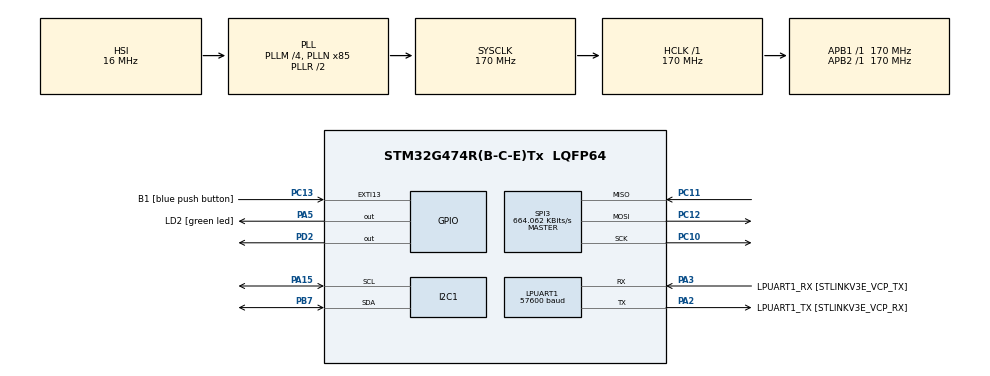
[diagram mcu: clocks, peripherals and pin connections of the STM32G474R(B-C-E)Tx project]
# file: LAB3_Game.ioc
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Dma.I2C1_RX.0.Direction=DMA_PERIPH_TO_MEMORY
Dma.I2C1_RX.0.EventEnable=DISABLE
Dma.I2C1_RX.0.Instance=DMA1_Channel1
Dma.I2C1_RX.0.MemDataAlignment=DMA_MDATAALIGN_BYTE
Dma.I2C1_RX.0.MemInc=DMA_MINC_ENABLE
Dma.I2C1_RX.0.Mode=DMA_NORMAL
Dma.I2C1_RX.0.PeriphDataAlignment=DMA_PDATAALIGN_BYTE
Dma.I2C1_RX.0.PeriphInc=DMA_PINC_DISABLE
Dma.I2C1_RX.0.Polarity=HAL_DMAMUX_REQ_GEN_RISING
Dma.I2C1_RX.0.Priority=DMA_PRIORITY_LOW
Dma.I2C1_RX.0.RequestNumber=1
Dma.I2C1_RX.0.SignalID=NONE
Dma.I2C1_RX.0.SyncEnable=DISABLE
Dma.I2C1_RX.0.SyncPolarity=HAL_DMAMUX_SYNC_NO_EVENT
Dma.I2C1_RX.0.SyncRequestNumber=1
Dma.I2C1_RX.0.SyncSignalID=NONE
Dma.I2C1_TX.1.Direction=DMA_MEMORY_TO_PERIPH
Dma.I2C1_TX.1.EventEnable=DISABLE
Dma.I2C1_TX.1.Instance=DMA1_Channel2
Dma.I2C1_TX.1.MemDataAlignment=DMA_MDATAALIGN_BYTE
Dma.I2C1_TX.1.MemInc=DMA_MINC_ENABLE
Dma.I2C1_TX.1.Mode=DMA_NORMAL
Dma.I2C1_TX.1.PeriphDataAlignment=DMA_PDATAALIGN_BYTE
Dma.I2C1_TX.1.PeriphInc=DMA_PINC_DISABLE
Dma.I2C1_TX.1.Polarity=HAL_DMAMUX_REQ_GEN_RISING
Dma.I2C1_TX.1.Priority=DMA_PRIORITY_LOW
Dma.I2C1_TX.1.RequestNumber=1
Dma.I2C1_TX.1.SignalID=NONE
Dma.I2C1_TX.1.SyncEnable=DISABLE
Dma.I2C1_TX.1.SyncPolarity=HAL_DMAMUX_SYNC_NO_EVENT
Dma.I2C1_TX.1.SyncRequestNumber=1
Dma.I2C1_TX.1.SyncSignalID=NONE
Dma.Request0=I2C1_RX
Dma.Request1=I2C1_TX
I2C1.Timing=0x30A0A7FB
LPUART1.BaudRate=57600
LPUART1.WordLength=UART_WORDLENGTH_8B
Mcu.Family=STM32G4
Mcu.Name=STM32G474R(B-C-E)Tx
Mcu.Package=LQFP64
NVIC.DMA1_Channel1_IRQn=true\:0\:0\:false\:false\:true\:false\:true\:true
NVIC.DMA1_Channel2_IRQn=true\:0\:0\:false\:false\:true\:false\:true\:true
NVIC.EXTI15_10_IRQn=true\:0\:0\:false\:false\:true\:true\:true\:true
NVIC.I2C1_ER_IRQn=true\:0\:0\:false\:false\:true\:true\:true\:true
NVIC.I2C1_EV_IRQn=true\:0\:0\:false\:false\:true\:true\:true\:true
NVIC.PriorityGroup=NVIC_PRIORITYGROUP_4
NVIC.SPI3_IRQn=true\:0\:0\:false\:false\:true\:true\:true\:true
PA13.GPIO_Label=T_SWDIO
PA13.Mode=Serial_Wire
PA13.Signal=SYS_JTMS-SWDIO
PA14.GPIO_Label=T_SWCLK
PA14.Mode=Serial_Wire
PA14.Signal=SYS_JTCK-SWCLK
PA15.Mode=I2C
PA15.Signal=I2C1_SCL
PA2.GPIO_Label=LPUART1_TX [STLINKV3E_VCP_RX]
PA2.Mode=Asynchronous
PA2.Signal=LPUART1_TX
PA3.GPIO_Label=LPUART1_RX [STLINKV3E_VCP_TX]
PA3.Mode=Asynchronous
PA3.Signal=LPUART1_RX
PA5.GPIO_Label=LD2 [green led]
PA5.Signal=GPIO_Output
PB3.GPIO_Label=T_SWO
PB3.Signal=SYS_JTDO-SWO
PB7.Mode=I2C
PB7.Signal=I2C1_SDA
PC10.Mode=Full_Duplex_Master
PC10.Signal=SPI3_SCK
PC11.Mode=Full_Duplex_Master
PC11.Signal=SPI3_MISO
PC12.Mode=Full_Duplex_Master
PC12.Signal=SPI3_MOSI
PC13.GPIO_Label=B1 [blue push button]
PC13.Signal=GPXTI13
PC14-OSC32_IN.Mode=LSE-External-Oscillator
PC14-OSC32_IN.Signal=RCC_OSC32_IN
PC15-OSC32_OUT.Mode=LSE-External-Oscillator
PC15-OSC32_OUT.Signal=RCC_OSC32_OUT
PD2.PinState=GPIO_PIN_SET
PD2.Signal=GPIO_Output
PF0-OSC_IN.Mode=HSE-External-Oscillator
PF0-OSC_IN.Signal=RCC_OSC_IN
PF1-OSC_OUT.Mode=HSE-External-Oscillator
PF1-OSC_OUT.Signal=RCC_OSC_OUT
ProjectManager.HeapSize=0x200
ProjectManager.StackSize=0x400
ProjectManager.TargetToolchain=STM32CubeIDE
RCC.ADC12Freq_Value=170000000
RCC.ADC345Freq_Value=170000000
RCC.AHBFreq_Value=170000000
RCC.APB1Freq_Value=170000000
RCC.APB1TimFreq_Value=170000000
RCC.APB2Freq_Value=170000000
RCC.APB2TimFreq_Value=170000000
RCC.CortexFreq_Value=170000000
RCC.EXTERNAL_CLOCK_VALUE=12288000
RCC.HCLKFreq_Value=170000000
RCC.HSE_VALUE=24000000
RCC.HSI48_VALUE=48000000
RCC.HSI_VALUE=16000000
RCC.PLLM=RCC_PLLM_DIV4
RCC.PLLN=85
RCC.RTCClockSelection=RCC_RTCCLKSOURCE_LSE
RCC.SYSCLKFreq_VALUE=170000000
RCC.SYSCLKSource=RCC_SYSCLKSOURCE_PLLCLK
RCC.USBFreq_Value=170000000
RCC.VCOOutputFreq_Value=340000000
SPI3.BaudRatePrescaler=SPI_BAUDRATEPRESCALER_256
SPI3.CalculateBaudRate=664.062 KBits/s
SPI3.DataSize=SPI_DATASIZE_8BIT
SPI3.Direction=SPI_DIRECTION_2LINES
SPI3.Mode=SPI_MODE_MASTER
SPI3.VirtualType=VM_MASTER
TIM3.PeriodNoDither=99
TIM3.Prescaler=16999
VP_SYS_VS_DBSignals.Mode=DisableDeadBatterySignals
VP_TIM3_VS_ClockSourceINT.Mode=Internal
board=NUCLEO-G474RE

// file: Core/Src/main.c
/* USER CODE BEGIN Header */
/**
  ******************************************************************************
  * @file           : main.c
  * @brief          : Main program body
  ******************************************************************************
  * @attention
  *
  * Copyright (c) 2024 STMicroelectronics.
  * All rights reserved.
  *
  * This software is licensed under terms that can be found in the LICENSE file
  * in the root directory of this software component.
  * If no LICENSE file comes with this software, it is provided AS-IS.
  *
  ******************************************************************************
  */
/* USER CODE END Header */
#include "main.h"

/* USER CODE BEGIN Includes */
#include <stdio.h>
#include <string.h>
/* USER CODE END Includes */

I2C_HandleTypeDef hi2c1;
DMA_HandleTypeDef hdma_i2c1_rx;
DMA_HandleTypeDef hdma_i2c1_tx;

UART_HandleTypeDef hlpuart1;

SPI_HandleTypeDef hspi3;

TIM_HandleTypeDef htim3;

/* USER CODE BEGIN PV */
//SPI part
uint8_t SPIRx[10];
uint8_t SPITx[10];

//my game part
int game_winner=0;//0=no 1=ai 2=human
int game_turn=0;//0=player 1=ai
int game_left=5;//amount of lamp that has left
int game_pick=0;//amount of pick for LED

//light (not use anymore)
uint16_t LMode;//for light

//UART
uint8_t RxBuffer[27];
uint8_t TxBuffer[27];
int ReadyToPlay = 0;

/* USER CODE END PV */

void SystemClock_Config(void);
static void MX_GPIO_Init(void);
static void MX_DMA_Init(void);
static void MX_LPUART1_UART_Init(void);
static void MX_SPI3_Init(void);
static void MX_TIM3_Init(void);
static void MX_I2C1_Init(void);

int main(void)
{

  /* MCU Configuration--------------------------------------------------------*/

  /* Reset of all peripherals, Initializes the Flash interface and the Systick. */
  HAL_Init();

  /* Configure the system clock */
  SystemClock_Config();

  /* Initialize all configured peripherals */
  MX_GPIO_Init();
  MX_DMA_Init();
  MX_LPUART1_UART_Init();
  MX_SPI3_Init();
  MX_TIM3_Init();
  MX_I2C1_Init();
  /* USER CODE BEGIN 2 */
  HAL_TIM_Base_Start(&htim3); // start timer
    HAL_UART_Transmit(&hlpuart1, (uint8_t *)"\r\nYou need to PICK 1 or 2 coins VS AI\r\n", strlen("\r\nYou need to PICK 1 or 2 coins VS AI\r\n"), HAL_MAX_DELAY);
    HAL_UART_Transmit(&hlpuart1, (uint8_t *)"Who pick the last coin Win!!\r\n", strlen("Who pick the last coin Win!!\r\n"), HAL_MAX_DELAY);
    HAL_UART_Transmit(&hlpuart1, (uint8_t *)"If you're ready please type\r\n", strlen("If you're ready please type\r\n"), HAL_MAX_DELAY);
    HAL_UART_Transmit(&hlpuart1, (uint8_t *)"wanna play this game so bad\r\n", strlen("wanna play this game so bad\r\n"), HAL_MAX_DELAY);
    HAL_UART_Transmit(&hlpuart1, (uint8_t *)"and now you can join\r\n", strlen("and now you can join\r\n"), HAL_MAX_DELAY);
  /* USER CODE END 2 */

  /* Infinite loop */
  while (1)
  {

    /* USER CODE BEGIN 3 */
	  	  AreYouReadyToPlay();
	      SPITxRx_readIO();
	      TikTokGame();
	      CoinLeftUART();
	      LEDdisplay();
  }
  /* USER CODE END 3 */
}

void SystemClock_Config(void)
{
  RCC_OscInitTypeDef RCC_OscInitStruct = {0};
  RCC_ClkInitTypeDef RCC_ClkInitStruct = {0};

  /** Configure the main internal regulator output voltage
  */
  HAL_PWREx_ControlVoltageScaling(PWR_REGULATOR_VOLTAGE_SCALE1_BOOST);

  /** Initializes the RCC Oscillators according to the specified parameters
  * in the RCC_OscInitTypeDef structure.
  */
  RCC_OscInitStruct.OscillatorType = RCC_OSCILLATORTYPE_HSI;
  RCC_OscInitStruct.HSIState = RCC_HSI_ON;
  RCC_OscInitStruct.HSICalibrationValue = RCC_HSICALIBRATION_DEFAULT;
  RCC_OscInitStruct.PLL.PLLState = RCC_PLL_ON;
  RCC_OscInitStruct.PLL.PLLSource = RCC_PLLSOURCE_HSI;
  RCC_OscInitStruct.PLL.PLLM = RCC_PLLM_DIV4;
  RCC_OscInitStruct.PLL.PLLN = 85;
  RCC_OscInitStruct.PLL.PLLP = RCC_PLLP_DIV2;
  RCC_OscInitStruct.PLL.PLLQ = RCC_PLLQ_DIV2;
  RCC_OscInitStruct.PLL.PLLR = RCC_PLLR_DIV2;
  if (HAL_RCC_OscConfig(&RCC_OscInitStruct) != HAL_OK)
  {
    Error_Handler();
  }

  /** Initializes the CPU, AHB and APB buses clocks
  */
  RCC_ClkInitStruct.ClockType = RCC_CLOCKTYPE_HCLK|RCC_CLOCKTYPE_SYSCLK
                              |RCC_CLOCKTYPE_PCLK1|RCC_CLOCKTYPE_PCLK2;
  RCC_ClkInitStruct.SYSCLKSource = RCC_SYSCLKSOURCE_PLLCLK;
  RCC_ClkInitStruct.AHBCLKDivider = RCC_SYSCLK_DIV1;
  RCC_ClkInitStruct.APB1CLKDivider = RCC_HCLK_DIV1;
  RCC_ClkInitStruct.APB2CLKDivider = RCC_HCLK_DIV1;

  if (HAL_RCC_ClockConfig(&RCC_ClkInitStruct, FLASH_LATENCY_4) != HAL_OK)
  {
    Error_Handler();
  }
}

static void MX_I2C1_Init(void)
{

  hi2c1.Instance = I2C1;
  hi2c1.Init.Timing = 0x30A0A7FB;
  hi2c1.Init.OwnAddress1 = 0;
  hi2c1.Init.AddressingMode = I2C_ADDRESSINGMODE_7BIT;
  hi2c1.Init.DualAddressMode = I2C_DUALADDRESS_DISABLE;
  hi2c1.Init.OwnAddress2 = 0;
  hi2c1.Init.OwnAddress2Masks = I2C_OA2_NOMASK;
  hi2c1.Init.GeneralCallMode = I2C_GENERALCALL_DISABLE;
  hi2c1.Init.NoStretchMode = I2C_NOSTRETCH_DISABLE;
  if (HAL_I2C_Init(&hi2c1) != HAL_OK)
  {
    Error_Handler();
  }

  /** Configure Analogue filter
  */
  if (HAL_I2CEx_ConfigAnalogFilter(&hi2c1, I2C_ANALOGFILTER_ENABLE) != HAL_OK)
  {
    Error_Handler();
  }

  /** Configure Digital filter
  */
  if (HAL_I2CEx_ConfigDigitalFilter(&hi2c1, 0) != HAL_OK)
  {
    Error_Handler();
  }

}

static void MX_LPUART1_UART_Init(void)
{

  hlpuart1.Instance = LPUART1;
  hlpuart1.Init.BaudRate = 57600;
  hlpuart1.Init.WordLength = UART_WORDLENGTH_8B;
  hlpuart1.Init.StopBits = UART_STOPBITS_1;
  hlpuart1.Init.Parity = UART_PARITY_NONE;
  hlpuart1.Init.Mode = UART_MODE_TX_RX;
  hlpuart1.Init.HwFlowCtl = UART_HWCONTROL_NONE;
  hlpuart1.Init.OneBitSampling = UART_ONE_BIT_SAMPLE_DISABLE;
  hlpuart1.Init.ClockPrescaler = UART_PRESCALER_DIV1;
  hlpuart1.AdvancedInit.AdvFeatureInit = UART_ADVFEATURE_NO_INIT;
  if (HAL_UART_Init(&hlpuart1) != HAL_OK)
  {
    Error_Handler();
  }
  if (HAL_UARTEx_SetTxFifoThreshold(&hlpuart1, UART_TXFIFO_THRESHOLD_1_8) != HAL_OK)
  {
    Error_Handler();
  }
  if (HAL_UARTEx_SetRxFifoThreshold(&hlpuart1, UART_RXFIFO_THRESHOLD_1_8) != HAL_OK)
  {
    Error_Handler();
  }
  if (HAL_UARTEx_DisableFifoMode(&hlpuart1) != HAL_OK)
  {
    Error_Handler();
  }

}

static void MX_SPI3_Init(void)
{

  /* SPI3 parameter configuration*/
  hspi3.Instance = SPI3;
  hspi3.Init.Mode = SPI_MODE_MASTER;
  hspi3.Init.Direction = SPI_DIRECTION_2LINES;
  hspi3.Init.DataSize = SPI_DATASIZE_8BIT;
  hspi3.Init.CLKPolarity = SPI_POLARITY_LOW;
  hspi3.Init.CLKPhase = SPI_PHASE_1EDGE;
  hspi3.Init.NSS = SPI_NSS_SOFT;
  hspi3.Init.BaudRatePrescaler = SPI_BAUDRATEPRESCALER_256;
  hspi3.Init.FirstBit = SPI_FIRSTBIT_MSB;
  hspi3.Init.TIMode = SPI_TIMODE_DISABLE;
  hspi3.Init.CRCCalculation = SPI_CRCCALCULATION_DISABLE;
  hspi3.Init.CRCPolynomial = 7;
  hspi3.Init.CRCLength = SPI_CRC_LENGTH_DATASIZE;
  hspi3.Init.NSSPMode = SPI_NSS_PULSE_ENABLE;
  if (HAL_SPI_Init(&hspi3) != HAL_OK)
  {
    Error_Handler();
  }

}

static void MX_TIM3_Init(void)
{

  TIM_ClockConfigTypeDef sClockSourceConfig = {0};
  TIM_MasterConfigTypeDef sMasterConfig = {0};

  htim3.Instance = TIM3;
  htim3.Init.Prescaler = 16999;
  htim3.Init.CounterMode = TIM_COUNTERMODE_UP;
  htim3.Init.Period = 99;
  htim3.Init.ClockDivision = TIM_CLOCKDIVISION_DIV1;
  htim3.Init.AutoReloadPreload = TIM_AUTORELOAD_PRELOAD_DISABLE;
  if (HAL_TIM_Base_Init(&htim3) != HAL_OK)
  {
    Error_Handler();
  }
  sClockSourceConfig.ClockSource = TIM_CLOCKSOURCE_INTERNAL;
  if (HAL_TIM_ConfigClockSource(&htim3, &sClockSourceConfig) != HAL_OK)
  {
    Error_Handler();
  }
  sMasterConfig.MasterOutputTrigger = TIM_TRGO_RESET;
  sMasterConfig.MasterSlaveMode = TIM_MASTERSLAVEMODE_DISABLE;
  if (HAL_TIMEx_MasterConfigSynchronization(&htim3, &sMasterConfig) != HAL_OK)
  {
    Error_Handler();
  }

}

static void MX_DMA_Init(void)
{

  /* DMA controller clock enable */
  __HAL_RCC_DMAMUX1_CLK_ENABLE();
  __HAL_RCC_DMA1_CLK_ENABLE();

  /* DMA interrupt init */
  /* DMA1_Channel1_IRQn interrupt configuration */
  HAL_NVIC_SetPriority(DMA1_Channel1_IRQn, 0, 0);
  HAL_NVIC_EnableIRQ(DMA1_Channel1_IRQn);
  /* DMA1_Channel2_IRQn interrupt configuration */
  HAL_NVIC_SetPriority(DMA1_Channel2_IRQn, 0, 0);
  HAL_NVIC_EnableIRQ(DMA1_Channel2_IRQn);

}

static void MX_GPIO_Init(void)
{
  GPIO_InitTypeDef GPIO_InitStruct = {0};

  /* GPIO Ports Clock Enable */
  __HAL_RCC_GPIOC_CLK_ENABLE();
  __HAL_RCC_GPIOF_CLK_ENABLE();
  __HAL_RCC_GPIOA_CLK_ENABLE();
  __HAL_RCC_GPIOD_CLK_ENABLE();
  __HAL_RCC_GPIOB_CLK_ENABLE();

  /*Configure GPIO pin Output Level */
  HAL_GPIO_WritePin(LD2_GPIO_Port, LD2_Pin, GPIO_PIN_RESET);

  /*Configure GPIO pin Output Level */
  HAL_GPIO_WritePin(GPIOD, GPIO_PIN_2, GPIO_PIN_SET);

  /*Configure GPIO pin : B1_Pin */
  GPIO_InitStruct.Pin = B1_Pin;
  GPIO_InitStruct.Mode = GPIO_MODE_IT_RISING;
  GPIO_InitStruct.Pull = GPIO_NOPULL;
  HAL_GPIO_Init(B1_GPIO_Port, &GPIO_InitStruct);

  /*Configure GPIO pin : LD2_Pin */
  GPIO_InitStruct.Pin = LD2_Pin;
  GPIO_InitStruct.Mode = GPIO_MODE_OUTPUT_PP;
  GPIO_InitStruct.Pull = GPIO_NOPULL;
  GPIO_InitStruct.Speed = GPIO_SPEED_FREQ_LOW;
  HAL_GPIO_Init(LD2_GPIO_Port, &GPIO_InitStruct);

  /*Configure GPIO pin : PD2 */
  GPIO_InitStruct.Pin = GPIO_PIN_2;
  GPIO_InitStruct.Mode = GPIO_MODE_OUTPUT_PP;
  GPIO_InitStruct.Pull = GPIO_NOPULL;
  GPIO_InitStruct.Speed = GPIO_SPEED_FREQ_LOW;
  HAL_GPIO_Init(GPIOD, &GPIO_InitStruct);

  /* EXTI interrupt init*/
  HAL_NVIC_SetPriority(EXTI15_10_IRQn, 0, 0);
  HAL_NVIC_EnableIRQ(EXTI15_10_IRQn);

}

/* USER CODE BEGIN 4 */
void AreYouReadyToPlay() {
    while (1) {
        if (ReadyToPlay == 1) // If already ready to play, break the loop
            break;

        memset(RxBuffer, 0, sizeof(RxBuffer)); // Clear the receive buffer

        HAL_StatusTypeDef status = HAL_UART_Receive(&hlpuart1, RxBuffer, 27, HAL_MAX_DELAY);

        if (status == HAL_OK && strcmp((char*)RxBuffer, "wanna play this game so bad") == 0) {//correct condition
            ReadyToPlay=1; //you are ready to play
            HAL_UART_Transmit(&hlpuart1, (uint8_t *)"Welcome Your Turn start!\r\n", strlen("Welcome Your Turn start!\r\n"), HAL_MAX_DELAY);
            break; // Exit the loop once condition is met
        }
        else {
            ReadyToPlay=0;
            HAL_UART_Transmit(&hlpuart1, (uint8_t *)"Do you really wanna play? Just type\r\n", strlen("Do you really wanna play? Just type\r\n"), HAL_MAX_DELAY);
            HAL_UART_Transmit(&hlpuart1, (uint8_t *)"wanna play this game so bad\r\n", strlen("wanna play this game so bad\r\n"), HAL_MAX_DELAY);
        }
    }
}

void SPITxRx_Setup()
{
//CS pulse
HAL_GPIO_WritePin(GPIOD, GPIO_PIN_2, 0); // CS Select
HAL_Delay(5);
HAL_GPIO_WritePin(GPIOD, GPIO_PIN_2, 1); // CS deSelect
HAL_Delay(5);
}

void SPITxRx_readIO()
{
if(HAL_GPIO_ReadPin(GPIOD,GPIO_PIN_2))
{
HAL_GPIO_WritePin(GPIOD, GPIO_PIN_2, 0); // CS Select
SPITx[0] = 0b01000001;
SPITx[1] = 0x12;
SPITx[2] = 0;
SPITx[3] = 0;
HAL_SPI_TransmitReceive_IT(&hspi3, SPITx, SPIRx, 4);
}
}

void TikTokGame()
{
	// for my reminder
//	int game_winner=0;//0=no 1=ai 2=human
//	int game_turn=0;//0=player 1=ai
//	int game_left=5;//amount of lamp that has left
//	int game_pick=0;//amount of pick for LED
    if(game_turn == 0) // player turn
    {
    	switch (game_left) {
    	    case 5:
    	        // statements
    	        switch (SPIRx[2]) {
    	            case 6: // Button 1 press pick 1
    	                game_pick = 1; // pick1
    	                game_left = 4; // coin left 4
    	                game_winner = 0; // no winner
    	                game_turn = 1; // next is ai turn
    	                HAL_UART_Transmit(&hlpuart1, (uint8_t *)"You pick 1\r\n", strlen("You pick 1\r\n"), HAL_MAX_DELAY);
    	                break;
    	            case 5: // Button 2 press pick 2
    	                game_pick = 2; // pick2
    	                game_left = 3; // coin left 3
    	                game_winner = 0; // no winner
    	                game_turn = 1; // next is ai turn
    	                HAL_UART_Transmit(&hlpuart1, (uint8_t *)"You pick 2\r\n", strlen("You pick 2\r\n"), HAL_MAX_DELAY);
    	                break;
    	            case 7: // Button not press let it loop
    	                break;
    	            case 3: // Button 3 press reset
    	                game_pick = 0; // no pick
    	                game_left = 5; // coin left 5
    	                game_winner = 0; // no winner
    	                game_turn = 0; // human turn
    	                HAL_UART_Transmit(&hlpuart1, (uint8_t *)"Loser gonna keep restart\r\n", strlen("Loser gonna keep restart\r\n"), HAL_MAX_DELAY);
    	                HAL_UART_Transmit(&hlpuart1, (uint8_t *)"Your Turn NOW!!\r\n", strlen("Your Turn NOW!!\r\n"), HAL_MAX_DELAY);
    	                break;
    	            default: // multi press do nothing
    	                break;
    	        }
    	        break;
    	    case 3:
    	        // statements
    	        switch (SPIRx[2]) {
    	            case 6: // Button 1 press pick 1
    	                game_pick = 1; // pick1
    	                game_left = 2; // coin left 2
    	                game_winner = 0; // no winner
    	                game_turn = 1; // next is ai turn
    	                HAL_UART_Transmit(&hlpuart1, (uint8_t *)"You pick 1\r\n", strlen("You pick 1\r\n"), HAL_MAX_DELAY);
    	                break;
    	            case 5: // Button 2 press pick 2
    	                game_pick = 2; // pick2
    	                game_left = 1; // coin left 1
    	                game_winner = 0; // no winner
    	                game_turn = 1; // next is ai turn
    	                HAL_UART_Transmit(&hlpuart1, (uint8_t *)"You pick 2\r\n", strlen("You pick 2\r\n"), HAL_MAX_DELAY);
    	                break;
    	            case 7: // Button not press let it loop
    	                break;
    	            case 3: // Button 3 press reset
    	                game_pick = 0; // no pick
    	                game_left = 5; // coin left 5
    	                game_winner = 0; // no winner
    	                game_turn = 0; // human turn
    	                HAL_UART_Transmit(&hlpuart1, (uint8_t *)"Loser gonna keep restart\r\n", strlen("Loser gonna keep restart\r\n"), HAL_MAX_DELAY);
    	                HAL_UART_Transmit(&hlpuart1, (uint8_t *)"Your Turn NOW!!\r\n", strlen("Your Turn NOW!!\r\n"), HAL_MAX_DELAY);
    	                break;
    	            default: // multi press do nothing
    	                break;
    	        }
    	        break;
    	    case 2:
    	        // statements
    	        switch (SPIRx[2]) {
    	            case 6: // Button 1 press pick 1
    	                game_pick = 1; // pick1
    	                game_left = 1; // coin left 1
    	                game_winner = 0; // no winner
    	                game_turn = 1; // next is ai turn
    	                HAL_UART_Transmit(&hlpuart1, (uint8_t *)"You pick 1\r\n", strlen("You pick 1\r\n"), HAL_MAX_DELAY);
    	                break;
    	            case 5: // Button 2 press pick 2
    	                game_pick = 2; // pick2
    	                game_left = 0; // coin left 1
    	                game_winner = 2; // human winner
    	                game_turn = 0; // reset to human
    	                HAL_UART_Transmit(&hlpuart1, (uint8_t *)"You pick 2\r\n", strlen("You pick 2\r\n"), HAL_MAX_DELAY);
    	                break;
    	            case 7: // Button not press let it loop
    	                break;
    	            case 3: // Button 3 press reset
    	                game_pick = 0; // no pick
    	                game_left = 5; // coin left 5
    	                game_winner = 0; // no winner
    	                game_turn = 0; // human turn
    	                HAL_UART_Transmit(&hlpuart1, (uint8_t *)"Loser gonna keep restart\r\n", strlen("Loser gonna keep restart\r\n"), HAL_MAX_DELAY);
    	                HAL_UART_Transmit(&hlpuart1, (uint8_t *)"Your Turn NOW!!\r\n", strlen("Your Turn NOW!!\r\n"), HAL_MAX_DELAY);
    	                break;
    	            default: // multi press do nothing
    	                break;
    	        }
    	        break;
    	    case 1:
    	        // statements
    	        switch (SPIRx[2]) {
    	            case 6: // Button 1 press pick 1
    	                game_pick = 1; // pick1
    	                game_left = 0; // coin left 0
    	                game_winner = 2; // human winner
    	                game_turn = 0; // reset to human
    	                HAL_UART_Transmit(&hlpuart1, (uint8_t *)"You pick 1\r\n", strlen("You pick 1\r\n"), HAL_MAX_DELAY);
    	                break;
    	            case 5: // Button 2 press pick 2
    	                game_pick = 1; // force to pick1
    	                game_left = 0; // coin left 1
    	                game_winner = 2; // human winner
    	                game_turn = 0; // reset to human
    	                HAL_UART_Transmit(&hlpuart1, (uint8_t *)"Are you blind? I gonna let you pick 1\r\n", strlen("Are you blind? I gonna let you pick 1\r\n"), HAL_MAX_DELAY);
    	                break;
    	            case 7: // Button not press let it loop
    	                break;
    	            case 3: // Button 3 press reset
    	                game_pick = 0; // no pick
    	                game_left = 5; // coin left 5
    	                game_winner = 0; // no winner
    	                game_turn = 0; // human turn
    	                HAL_UART_Transmit(&hlpuart1, (uint8_t *)"Loser gonna keep restart\r\n", strlen("Loser gonna keep restart\r\n"), HAL_MAX_DELAY);
    	                HAL_UART_Transmit(&hlpuart1, (uint8_t *)"Your Turn NOW!!\r\n", strlen("Your Turn NOW!!\r\n"), HAL_MAX_DELAY);
    	                break;
    	            default: // multi press do nothing
    	                break;
    	        }
    	        break;
    	}
    	//game_turn = 1;//need to put it inside for if not push
    }
    else // ai turn
    {
        switch (game_left)//amount left for ai to think(fix lol)
        {
            case 4:
                // statements
                game_pick = 1; // pick1
                game_left = 3; // coin left 3
                game_winner = 0; // no winner
                HAL_UART_Transmit(&hlpuart1, (uint8_t *)"AI pick 1\r\n", strlen("AI pick 1\r\n"), HAL_MAX_DELAY);
                HAL_UART_Transmit(&hlpuart1, (uint8_t *)"Your Turn NOW!!\r\n", strlen("Your Turn NOW!!\r\n"), HAL_MAX_DELAY);
                break;
            case 3:
                // statements
                game_pick = 1; // pick1
                game_left = 2; // coin left 2
                game_winner = 0; // no winner
                HAL_UART_Transmit(&hlpuart1, (uint8_t *)"AI pick 1\r\n", strlen("AI pick 1\r\n"), HAL_MAX_DELAY);
                HAL_UART_Transmit(&hlpuart1, (uint8_t *)"Your Turn NOW!!\r\n", strlen("Your Turn NOW!!\r\n"), HAL_MAX_DELAY);
                break;
            case 2:
                // statements
                game_pick = 2; // pick2
                game_left = 0; // coin left 0
                game_winner = 1; // ai winner
                HAL_UART_Transmit(&hlpuart1, (uint8_t *)"AI pick 2\r\n", strlen("AI pick 2\r\n"), HAL_MAX_DELAY);
                break;
            case 1:
                // statements
                game_pick = 1; // pick1
                game_left = 0; // coin left 0
                game_winner = 1; // ai winner
                HAL_UART_Transmit(&hlpuart1, (uint8_t *)"AI pick 1\r\n", strlen("AI pick 1\r\n"), HAL_MAX_DELAY);
                break;
        }
        game_turn = 0;
        //HAL_UART_Transmit(&hlpuart1, (uint8_t *)"Your Turn NOW!!\r\n", strlen("Your Turn NOW!!\r\n"), HAL_MAX_DELAY);
    }
    HAL_Delay(200);//delay
}

void LEDdisplay() {
    // Add your code here to control the LEDs
	switch (game_winner) {
	        case 0:
	            // Still playing
	            break;
	        case 1:
	            // AI wins
	        	//light effect
//	        	HAL_GPIO_WritePin(GPIOD, GPIO_PIN_2, 0); // CS Select
//	        	SPITx[0] = 0b01000000;
//	        	SPITx[1] = 0x01;
//	        	SPITx[2] = 0b00111111;
//	        	HAL_SPI_TransmitReceive_IT(&hspi3, SPITx, SPIRx, 3);
	        	//reset after light
                game_pick = 0; // no pick
                game_left = 5; // coin left 5
                game_winner = 0; // RESET
                game_turn = 0; // human turn
                // Send the message over UART
                HAL_UART_Transmit(&hlpuart1, (uint8_t *)"AI Win!! Humanity Lost!\r\n", strlen("AI Win!! Humanity Lost!\r\n"), HAL_MAX_DELAY);
                HAL_UART_Transmit(&hlpuart1, (uint8_t *)"Try again we believe in you\r\n", strlen("Try again we believe in you\r\n"), HAL_MAX_DELAY);
                HAL_UART_Transmit(&hlpuart1, (uint8_t *)"Coin left is 5. It's your turn to pick.\r\n", strlen("Coin left is 5. It's your turn to pick.\r\n"), HAL_MAX_DELAY);
	            break;
	        case 2:
	            // Human wins
	        	//reset after light
                game_pick = 0; // no pick
                game_left = 5; // coin left 5
                game_winner = 0; // RESET
                game_turn = 0; // human turn
                // Send the message over UART
                HAL_UART_Transmit(&hlpuart1, (uint8_t *)"Congrats You are winning!!!\r\n", strlen("Congrats You are winning!!!\r\n"), HAL_MAX_DELAY);
                HAL_UART_Transmit(&hlpuart1, (uint8_t *)"But now what?? Let's play again I know You still fun\r\n", strlen("But now what?? Let's play again I know You still fun\r\n"), HAL_MAX_DELAY);
                HAL_UART_Transmit(&hlpuart1, (uint8_t *)"Coin left is 5. It's your turn to pick.\r\n", strlen("Coin left is 5. It's your turn to pick.\r\n"), HAL_MAX_DELAY);
	            break;
	    }
}
void CoinLeftUART() {
	 char coin_left_message[30]; // Buffer to store the message
	    sprintf(coin_left_message, "Coin left is %d\r\r\n", game_left); // Use \r\r\n for proper newline
	    HAL_UART_Transmit(&hlpuart1, (uint8_t *)coin_left_message, strlen(coin_left_message), HAL_MAX_DELAY);
}
void HAL_TIM_PeriodElapsedCallback(TIM_HandleTypeDef *htim)// timer interrupt for led
{
if(htim == &htim3)
{
//
//	LMode1+=1;
//	if (LMode1>8)
//	{
//	LMode1 = 1;
//	}
}
}

void HAL_SPI_TxRxCpltCallback(SPI_HandleTypeDef *hspi)
{
HAL_GPIO_WritePin(GPIOD, GPIO_PIN_2, 1); //CS dnSelect
}
/* USER CODE END 4 */

void Error_Handler(void)
{
  __disable_irq();
  while (1)
  {
  }
}
